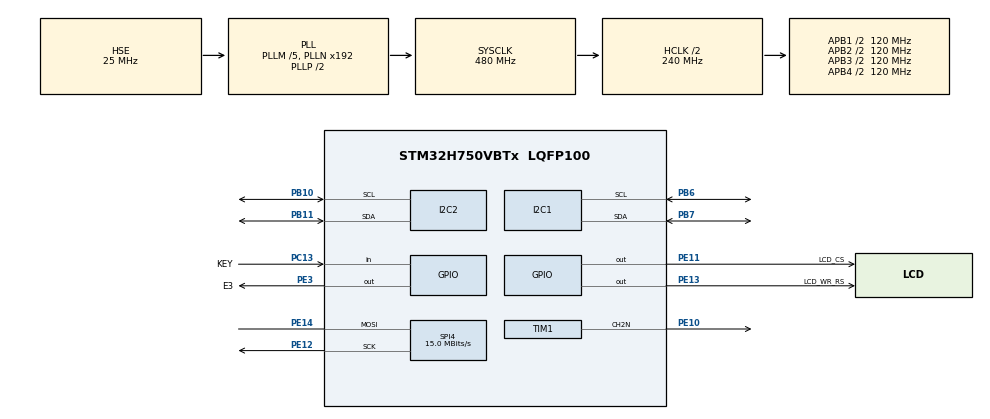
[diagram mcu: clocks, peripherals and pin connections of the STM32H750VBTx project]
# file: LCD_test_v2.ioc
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ADC3.Channel-2\#ChannelRegularConversion=ADC_CHANNEL_TEMPSENSOR
ADC3.DiscontinuousConvMode=ENABLE
ADC3.NbrOfConversion=1
ADC3.NbrOfConversionFlag=1
ADC3.OffsetNumber-2\#ChannelRegularConversion=ADC_OFFSET_NONE
ADC3.OffsetSignedSaturation-2\#ChannelRegularConversion=DISABLE
ADC3.Rank-2\#ChannelRegularConversion=1
ADC3.SamplingTime-2\#ChannelRegularConversion=ADC_SAMPLETIME_387CYCLES_5
CORTEX_M7.default_mode_Activation=1
I2C1.Timing=0x307075B1
I2C2.Timing=0x307075B1
Mcu.Family=STM32H7
Mcu.Name=STM32H750VBTx
Mcu.Package=LQFP100
NVIC.PriorityGroup=NVIC_PRIORITYGROUP_4
PA13\ (JTMS/SWDIO).Mode=Serial_Wire
PA13\ (JTMS/SWDIO).Signal=DEBUG_JTMS-SWDIO
PA14\ (JTCK/SWCLK).Mode=Serial_Wire
PA14\ (JTCK/SWCLK).Signal=DEBUG_JTCK-SWCLK
PB10.GPIO_Pu=GPIO_PULLUP
PB10.Mode=I2C
PB10.Signal=I2C2_SCL
PB11.GPIO_Pu=GPIO_PULLUP
PB11.Mode=I2C
PB11.Signal=I2C2_SDA
PB6.GPIO_Pu=GPIO_PULLUP
PB6.Mode=I2C
PB6.Signal=I2C1_SCL
PB7.GPIO_Pu=GPIO_PULLUP
PB7.Mode=I2C
PB7.Signal=I2C1_SDA
PC13.GPIO_Label=KEY
PC13.GPIO_PuPd=GPIO_PULLDOWN
PC13.Signal=GPIO_Input
PC14-OSC32_IN\ (OSC32_IN).Mode=LSE-External-Oscillator
PC14-OSC32_IN\ (OSC32_IN).Signal=RCC_OSC32_IN
PC15-OSC32_OUT\ (OSC32_OUT).Mode=LSE-External-Oscillator
PC15-OSC32_OUT\ (OSC32_OUT).Signal=RCC_OSC32_OUT
PE10.Mode=PWM Generation2 CH2N
PE10.Signal=TIM1_CH2N
PE11.GPIO_Label=LCD_CS
PE11.GPIO_Speed=GPIO_SPEED_FREQ_VERY_HIGH
PE11.Signal=GPIO_Output
PE12.Mode=Simplex_Bidirectional_Master
PE12.Signal=SPI4_SCK
PE13.GPIO_Label=LCD_WR_RS
PE13.GPIO_Speed=GPIO_SPEED_FREQ_VERY_HIGH
PE13.Signal=GPIO_Output
PE14.Mode=Simplex_Bidirectional_Master
PE14.Signal=SPI4_MOSI
PE3.GPIO_Label=E3
PE3.Signal=GPIO_Output
PH0-OSC_IN\ (PH0).Mode=HSE-External-Oscillator
PH0-OSC_IN\ (PH0).Signal=RCC_OSC_IN
PH1-OSC_OUT\ (PH1).Mode=HSE-External-Oscillator
PH1-OSC_OUT\ (PH1).Signal=RCC_OSC_OUT
ProjectManager.HeapSize=0x200
ProjectManager.StackSize=0x400
ProjectManager.TargetToolchain=STM32CubeIDE
RCC.ADCFreq_Value=83333333.33333333
RCC.APB1Freq_Value=120000000
RCC.APB2Freq_Value=120000000
RCC.APB3Freq_Value=120000000
RCC.APB4Freq_Value=120000000
RCC.CortexFreq_Value=480000000
RCC.D1PPRE=RCC_APB3_DIV2
RCC.D2PPRE1=RCC_APB1_DIV2
RCC.D2PPRE2=RCC_APB2_DIV2
RCC.D3PPRE=RCC_APB4_DIV2
RCC.DIVM1=5
RCC.DIVM2=6
RCC.DIVN1=192
RCC.DIVN2=40
RCC.DIVQ2=1
RCC.DIVR3=6
RCC.HCLKFreq_Value=240000000
RCC.HPRE=RCC_HCLK_DIV2
RCC.HSE_VALUE=25000000
RCC.PLLSourceVirtual=RCC_PLLSOURCE_HSE
RCC.RTCClockSelection=RCC_RTCCLKSOURCE_LSE
RCC.SYSCLKFreq_VALUE=480000000
RCC.SYSCLKSource=RCC_SYSCLKSOURCE_PLLCLK
RCC.USBFreq_Value=480000000
SPI4.BaudRatePrescaler=SPI_BAUDRATEPRESCALER_8
SPI4.CalculateBaudRate=15.0 MBits/s
SPI4.DataSize=SPI_DATASIZE_8BIT
SPI4.Direction=SPI_DIRECTION_1LINE
SPI4.Mode=SPI_MODE_MASTER
SPI4.VirtualType=VM_MASTER
TIM1.Channel-PWM\ Generation2\ CH2N=TIM_CHANNEL_2
TIM1.OCNPolarity_2=TIM_OCNPOLARITY_LOW
TIM1.Period=10000-1
TIM1.Prescaler=12-1
VP_ADC3_TempSens_Input.Mode=IN-TempSens
VP_MEMORYMAP_VS_MEMORYMAP.Mode=CurAppReg
VP_VREFBUF_V_VREFBUF.Mode=ExternalMode
board=custom

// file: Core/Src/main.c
/* USER CODE BEGIN Header */
/**
  ******************************************************************************
  * @file           : main.c
  * @brief          : Main program body
  ******************************************************************************
  * @attention
  *
  * Copyright (c) 2025 STMicroelectronics.
  * All rights reserved.
  *
  * This software is licensed under terms that can be found in the LICENSE file
  * in the root directory of this software component.
  * If no LICENSE file comes with this software, it is provided AS-IS.
  *
  ******************************************************************************
  */
/* USER CODE END Header */
#include "main.h"
#include "adc.h"
#include "i2c.h"
#include "memorymap.h"
#include "spi.h"
#include "tim.h"
#include "gpio.h"

/* USER CODE BEGIN Includes */
#include "lcd.h"
#include <string.h>
#include <stdio.h>
#include "BNO055_STM32.h"
/* USER CODE END Includes */

/* USER CODE BEGIN PD */

HAL_StatusTypeDef ret;
float Ground_Commands[5];  // Float array to store received data
uint8_t buffer[sizeof(Ground_Commands)];  // Byte buffer for receiving

BNO055_Sensors_t BNO055;	/*!BNO055 data structure definition which hold euler, quaternion, linearaccel, gyro etc. parameters*/
uint8_t OffsetDatas[22];

/* USER CODE END PD */

void SystemClock_Config(void);
static void MPU_Config(void);
/* USER CODE BEGIN PFP */

void IMU_Init(void);

/* USER CODE END PFP */

int main(void)
{

  /* MPU Configuration--------------------------------------------------------*/
  MPU_Config();

  /* MCU Configuration--------------------------------------------------------*/

  /* Reset of all peripherals, Initializes the Flash interface and the Systick. */
  HAL_Init();

  /* Configure the system clock */
  SystemClock_Config();

  /* Initialize all configured peripherals */
  MX_GPIO_Init();
  MX_TIM1_Init();
  MX_SPI4_Init();
  MX_ADC3_Init();
  MX_I2C2_Init();
  MX_I2C1_Init();
  /* USER CODE BEGIN 2 */

  LCD_Test();

//  if (HAL_I2C_Master_Transmit(&hi2c2, 0x28<<1, 1, sizeof(1), 50) != HAL_OK)
//  {
//    /* Calibration Error */
//    Error_Handler();
//  }

  IMU_Init();

  HAL_Delay(1000);

  if (HAL_ADCEx_Calibration_Start(&hadc3, ADC_CALIB_OFFSET, ADC_SINGLE_ENDED) != HAL_OK)
  {
    /* Calibration Error */
    Error_Handler();
  }

  ST7735_LCD_Driver.FillRect(&st7735_pObj, 0, 0, ST7735Ctx.Width,ST7735Ctx.Height, BLACK);

  uint8_t text[30];
  __IO uint16_t uhADCxConvertedValue;
  __IO uint32_t uhADCxInputVoltage;
  uint32_t tempsensor;

  #define Avg_Slope (2) // mV/°C
  #define V30  (620)  // mV, V30: 0.62V,datasheet P278

  /* USER CODE END 2 */

  /* Infinite loop */
  /* USER CODE BEGIN WHILE */
  while (1)
  {

	  HAL_ADC_Start(&hadc3);
	  HAL_ADC_PollForConversion(&hadc3, 100);
	  uhADCxConvertedValue = HAL_ADC_GetValue(&hadc3);
	  uhADCxInputVoltage = ((uhADCxConvertedValue * 3300) / 0xFFFF);
	  HAL_ADC_Stop(&hadc3);

	  tempsensor = ((int32_t)uhADCxInputVoltage - V30)/Avg_Slope + 30; // C

	  sprintf((char *)&text, "temp: %3lu 'C", tempsensor);
	  LCD_ShowString(0, 62, ST7735Ctx.Width,16,12,text);

	  HAL_GPIO_WritePin(GPIOE, GPIO_PIN_3, 1);
	  HAL_Delay(100);
	  HAL_GPIO_WritePin(GPIOE, GPIO_PIN_3, 0);
	  HAL_Delay(100);

	  ret = HAL_I2C_Master_Receive(&hi2c1, (0x20<<1) | 0x01, buffer, sizeof(buffer), 50);

	  if (ret == HAL_OK) {
	          memcpy(Ground_Commands, buffer, sizeof(Ground_Commands));  // Convert bytes to float array

	  }

	  sprintf((char *)&text, "Activated = %d", (int)Ground_Commands[4]);
	  LCD_ShowString(0, 20, ST7735Ctx.Width,16,12,text);

	  ReadData(&BNO055, SENSOR_QUATERNION|SENSOR_ACCEL|SENSOR_GYRO);

	  sprintf((char *)&text, "Ax = %.2f", BNO055.Accel.X);
	  LCD_ShowString(0, 40, ST7735Ctx.Width,16,12,text);

    /* USER CODE END WHILE */

  }
}

void SystemClock_Config(void)
{
  RCC_OscInitTypeDef RCC_OscInitStruct = {0};
  RCC_ClkInitTypeDef RCC_ClkInitStruct = {0};

  /** Supply configuration update enable
  */
  HAL_PWREx_ConfigSupply(PWR_LDO_SUPPLY);

  /** Configure the main internal regulator output voltage
  */
  __HAL_PWR_VOLTAGESCALING_CONFIG(PWR_REGULATOR_VOLTAGE_SCALE0);

  while(!__HAL_PWR_GET_FLAG(PWR_FLAG_VOSRDY)) {}

  /** Initializes the RCC Oscillators according to the specified parameters
  * in the RCC_OscInitTypeDef structure.
  */
  RCC_OscInitStruct.OscillatorType = RCC_OSCILLATORTYPE_HSE;
  RCC_OscInitStruct.HSEState = RCC_HSE_ON;
  RCC_OscInitStruct.PLL.PLLState = RCC_PLL_ON;
  RCC_OscInitStruct.PLL.PLLSource = RCC_PLLSOURCE_HSE;
  RCC_OscInitStruct.PLL.PLLM = 5;
  RCC_OscInitStruct.PLL.PLLN = 192;
  RCC_OscInitStruct.PLL.PLLP = 2;
  RCC_OscInitStruct.PLL.PLLQ = 2;
  RCC_OscInitStruct.PLL.PLLR = 2;
  RCC_OscInitStruct.PLL.PLLRGE = RCC_PLL1VCIRANGE_2;
  RCC_OscInitStruct.PLL.PLLVCOSEL = RCC_PLL1VCOWIDE;
  RCC_OscInitStruct.PLL.PLLFRACN = 0;
  if (HAL_RCC_OscConfig(&RCC_OscInitStruct) != HAL_OK)
  {
    Error_Handler();
  }

  /** Initializes the CPU, AHB and APB buses clocks
  */
  RCC_ClkInitStruct.ClockType = RCC_CLOCKTYPE_HCLK|RCC_CLOCKTYPE_SYSCLK
                              |RCC_CLOCKTYPE_PCLK1|RCC_CLOCKTYPE_PCLK2
                              |RCC_CLOCKTYPE_D3PCLK1|RCC_CLOCKTYPE_D1PCLK1;
  RCC_ClkInitStruct.SYSCLKSource = RCC_SYSCLKSOURCE_PLLCLK;
  RCC_ClkInitStruct.SYSCLKDivider = RCC_SYSCLK_DIV1;
  RCC_ClkInitStruct.AHBCLKDivider = RCC_HCLK_DIV2;
  RCC_ClkInitStruct.APB3CLKDivider = RCC_APB3_DIV2;
  RCC_ClkInitStruct.APB1CLKDivider = RCC_APB1_DIV2;
  RCC_ClkInitStruct.APB2CLKDivider = RCC_APB2_DIV2;
  RCC_ClkInitStruct.APB4CLKDivider = RCC_APB4_DIV2;

  if (HAL_RCC_ClockConfig(&RCC_ClkInitStruct, FLASH_LATENCY_4) != HAL_OK)
  {
    Error_Handler();
  }
}

/* USER CODE BEGIN 4 */

void IMU_Init(void)
{
	BNO_Status_t Status = {0};

	//Init structure definition section
	BNO055_Init_t BNO055_InitStruct = {0};

	//Reset section
	ResetBNO055();

	/*============================ *BNO055 Initialization* ============================*/

	BNO055_InitStruct.ACC_Range = Range_16G;			//Range_X
	BNO055_InitStruct.Axis = DEFAULT_AXIS_REMAP;			//value will be entered by looking at the data sheet
	BNO055_InitStruct.Axis_sign = DEFAULT_AXIS_SIGN;		//value will be entered by looking at the data sheet
	BNO055_InitStruct.Clock_Source = CLOCK_EXTERNAL;		//CLOCK_EXTERNAL or CLOCK_INTERNAL
	BNO055_InitStruct.Mode = BNO055_NORMAL_MODE;			//BNO055_X_MODE   X:NORMAL, LOWPOWER, SUSPEND
	BNO055_InitStruct.OP_Modes = NDOF;
	BNO055_InitStruct.Unit_Sel = (UNIT_ORI_ANDROID | UNIT_TEMP_CELCIUS | UNIT_EUL_DEG | UNIT_GYRO_DPS | UNIT_ACC_MS2);
									//(UNIT_ORI_X | UNIT_TEMP_X | UNIT_EUL_X | UNIT_GYRO_X | UNIT_ACC_X)
	BNO055_Init(BNO055_InitStruct);

	//------------------BNO055 Calibration------------------

	/*This function allows the sensor offset data obtained after BNO055 is calibrated once to be written
	 *to the registers. In this way, there is no need to calibrate the sensor every time it is powered on.
	 */
	//setSensorOffsets(OffsetDatas);

	/*-=-=-=-=-=-=Calibration Part-=-=-=-=-=-=*/

	if(Calibrate_BNO055())
	{
		getSensorOffsets(OffsetDatas);
	}
	else
	{
		printf("Sensor calibration failed.\nFailed to retrieve offset data\n");
		Error_Handler();
	}

	Check_Status(&Status);
	printf("Selftest Result: %d\t",Status.STresult);
	printf("System Status: %d\t",Status.SYSStatus);
	printf("System Error: %d\n",Status.SYSError);

}

/* USER CODE END 4 */

 /* MPU Configuration */

void MPU_Config(void)
{
  MPU_Region_InitTypeDef MPU_InitStruct = {0};

  /* Disables the MPU */
  HAL_MPU_Disable();

  /** Initializes and configures the Region and the memory to be protected
  */
  MPU_InitStruct.Enable = MPU_REGION_ENABLE;
  MPU_InitStruct.Number = MPU_REGION_NUMBER0;
  MPU_InitStruct.BaseAddress = 0x0;
  MPU_InitStruct.Size = MPU_REGION_SIZE_4GB;
  MPU_InitStruct.SubRegionDisable = 0x87;
  MPU_InitStruct.TypeExtField = MPU_TEX_LEVEL0;
  MPU_InitStruct.AccessPermission = MPU_REGION_NO_ACCESS;
  MPU_InitStruct.DisableExec = MPU_INSTRUCTION_ACCESS_DISABLE;
  MPU_InitStruct.IsShareable = MPU_ACCESS_SHAREABLE;
  MPU_InitStruct.IsCacheable = MPU_ACCESS_NOT_CACHEABLE;
  MPU_InitStruct.IsBufferable = MPU_ACCESS_NOT_BUFFERABLE;

  HAL_MPU_ConfigRegion(&MPU_InitStruct);
  /* Enables the MPU */
  HAL_MPU_Enable(MPU_PRIVILEGED_DEFAULT);

}

void Error_Handler(void)
{
  /* USER CODE BEGIN Error_Handler_Debug */
  /* User can add his own implementation to report the HAL error return state */

	ST7735_LCD_Driver.FillRect(&st7735_pObj, 0, 0, ST7735Ctx.Width,ST7735Ctx.Height, MAGENTA);

  /* USER CODE END Error_Handler_Debug */
}
